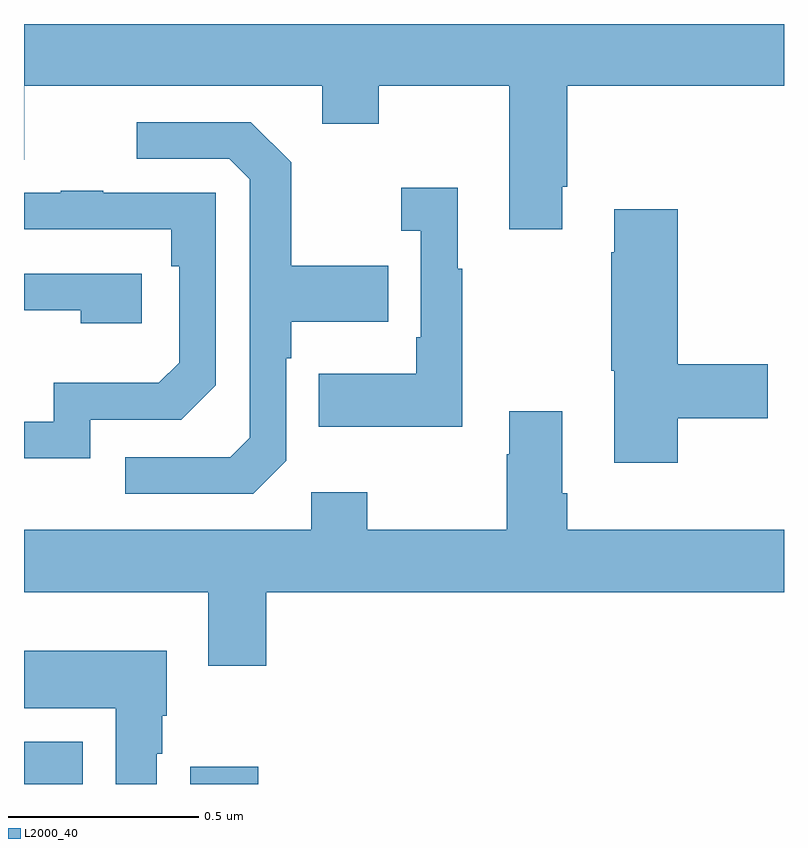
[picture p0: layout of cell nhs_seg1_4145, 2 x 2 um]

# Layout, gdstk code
import gdstk
lib = gdstk.Library(unit=1e-6, precision=1e-09)
def R(c, l, rs):  # rectangles x0, y0, x1, y1
    for r in rs: c.add(gdstk.rectangle(r[:2], r[2:], *l))
def P(c, l, *ps):  # polygons
    for p in ps: c.add(gdstk.Polygon(p, *l))
L2000_40 = (2000, 40)

nhs_seg1_4145 = lib.new_cell('nhs_seg1_4145')
R(nhs_seg1_4145, L2000_40, [(162,579.199,162.154,579.31), (162.437,579.199,162.616,579.244)])
P(nhs_seg1_4145, L2000_40, [(163.417,580.771),(163.43,580.771),(163.43,581.036),(164,581.036),(164,581.199),(162,581.199),(162,580.842),(162.001,580.842),(162.001,581.036),(162.785,581.036),(162.785,580.937),(162.933,580.937),(162.933,581.036),(163.277,581.036),(163.277,580.659),(163.417,580.659)],
  [(162.69,580.05),(162.69,580.319),(162.703,580.319),(162.703,580.415),(162.959,580.415),(162.959,580.563),(162.703,580.563),(162.703,580.835),(162.597,580.941),(162.297,580.941),(162.297,580.845),(162.54,580.845),(162.594,580.791),(162.594,580.11),(162.543,580.059),(162.267,580.059),(162.267,579.963),(162.603,579.963)],
  [(163.153,580.555),(163.141,580.555),(163.141,580.768),(162.993,580.768),(162.993,580.655),(163.044,580.655),(163.044,580.375),(163.032,580.375),(163.032,580.279),(162.775,580.279),(162.775,580.139),(163.153,580.139)],
  [(162.174,580.158),(162.414,580.158),(162.504,580.248),(162.504,580.755),(162.209,580.755),(162.209,580.76),(162.097,580.76),(162.097,580.755),(162,580.755),(162,580.659),(162.388,580.659),(162.388,580.562),(162.408,580.562),(162.408,580.308),(162.355,580.255),(162.078,580.255),(162.078,580.152),(162,580.152),(162,580.056),(162.174,580.056)],
  [(163.721,580.162),(163.957,580.162),(163.957,580.304),(163.721,580.304),(163.721,580.711),(163.553,580.711),(163.553,580.598),(163.546,580.598),(163.546,580.287),(163.553,580.287),(163.553,580.044),(163.721,580.044)],
  [(162.31,580.542),(162,580.542),(162,580.446),(162.149,580.446),(162.149,580.412),(162.31,580.412)],
  [(162.638,579.704),(164,579.704),(164,579.868),(163.43,579.868),(163.43,579.964),(163.417,579.964),(163.417,580.18),(163.277,580.18),(163.277,580.067),(163.27,580.067),(163.27,579.868),(162.903,579.868),(162.903,579.967),(162.756,579.967),(162.756,579.868),(162,579.868),(162,579.704),(162.485,579.704),(162.485,579.51),(162.638,579.51)],
  [(162.349,579.278),(162.364,579.278),(162.364,579.378),(162.376,579.378),(162.376,579.55),(162,579.55),(162,579.398),(162.242,579.398),(162.242,579.199),(162.349,579.199)])

lib.write_gds('nhs_seg1_4145.gds')
